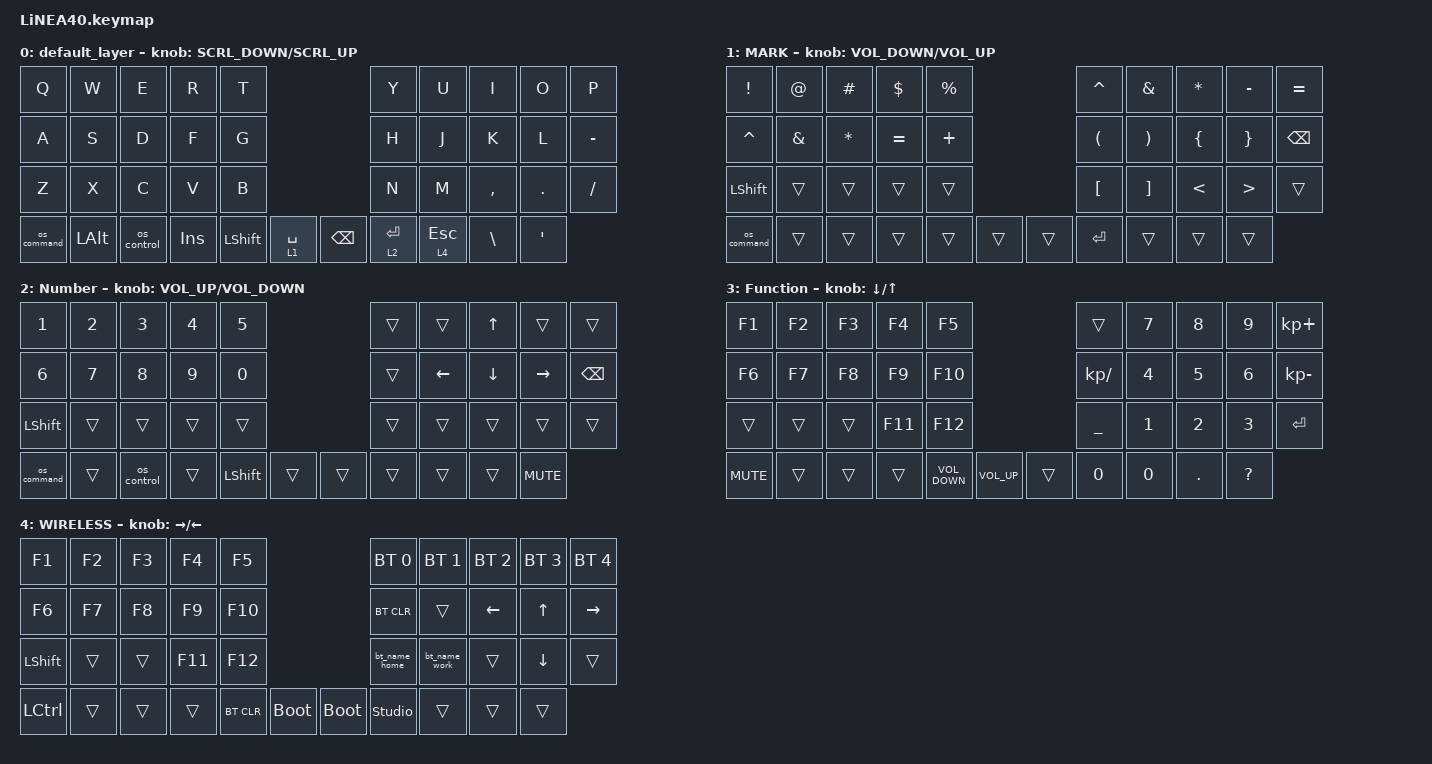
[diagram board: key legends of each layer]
#define ZMK_POINTING_DEFAULT_SCRL_VAL 150

#include <dt-bindings/zmk/input_transform.h>
#include <input/processors.dtsi>
#include <zephyr/dt-bindings/input/input-event-codes.h>
#include <behaviors.dtsi>
#include <behaviors/linea40_bluetooth_names.dtsi>
#include <behaviors/linea40_profile_keys.dtsi>
#include <dt-bindings/zmk/bt.h>
#include <dt-bindings/zmk/keys.h>
#include <dt-bindings/zmk/pointing.h>

#define MARK 1
#define CURSOR 2
#define FUNCTION 3
#define SCROLL 4
#define WIRELESS 5

//mouse cursol

&mmv {
    delay-ms = <20>;
    trigger-period-ms = <5>;
    time-to-max-speed-ms = <100>;
    acceleration-exponent = <2>;
};

//mouse scroll

&msc {
    delay-ms = <3>;
    trigger-period-ms = <3>;
    time-to-max-speed-ms = <100>;
    acceleration-exponent = <0>;
};

/ {
    input_processors {
        zip_wheel_scaler: zip_wheel_scaler {
            compatible = "zmk,input-processor-scaler";
            #input-processor-cells = <2>;
            type = <INPUT_EV_REL>;
            codes = <INPUT_REL_WHEEL>;
            track-remainders;
        };
    };
};

&msc_input_listener {
    speed_up {
        layers = <FUNCTION>;
        input-processors = <&zip_wheel_scaler 3 1>; //スクロールを3倍速にする
    };
};

&trackball_listener {
    scroller {
        layers = <SCROLL>;
        input-processors =
            <&zip_xy_transform INPUT_TRANSFORM_Y_INVERT>,
            //スクロール方向を逆転,,,,,,,,,,,,,,,,,,,,,,,
            <&zip_xy_to_scroll_mapper>;
    };
};

/ {
    combos {
        compatible = "zmk,combos";

        Tab {
            bindings = <&kp TAB>;
            key-positions = <11 12>;
        };

        DeleteKey {
            bindings = <&kp DEL>;
            key-positions = <7 8>;
        };

        LeftClick {
            bindings = <&mkp MB1>;
            key-positions = <16 17>;
        };

        RightClick {
            bindings = <&mkp MB2>;
            key-positions = <17 18>;
        };

        CenterClick {
            bindings = <&os_middle>;
            key-positions = <6 7>;
        };

        ClickNext {
            bindings = <&mkp MB5>;
            key-positions = <26 27>;
        };

        inner_paren {
            bindings = <&inner_paren>;
            key-positions = <15 16>;
        };

        inner_brace {
            bindings = <&inner_brace>;
            key-positions = <27 28>;
        };

        inner_bracket {
            bindings = <&inner_bracket>;
            key-positions = <25 26>;
        };

        change_source {
            bindings = <&os_input>;
            key-positions = <10 34>;
        };

        shift_tab {
            bindings = <&kp LS(TAB)>;
            key-positions = <12 13>;
        };

        backspace {
            bindings = <&kp MINUS>;
            key-positions = <8 9>;
        };

        semicolon {
            bindings = <&kp SEMICOLON>;
            key-positions = <18 19>;
        };

        grave {
            bindings = <&kp GRAVE>;
            key-positions = <1 2>;
        };

        tilde {
            bindings = <&kp TILDE>;
            key-positions = <2 3>;
        };
    };

    behaviors {
        re_kp: sensor_rotate_kp {
            compatible = "zmk,behavior-sensor-rotate-var";
            #sensor-binding-cells = <2>;
            bindings = <&kp>, <&kp>;
        };

        mouse_scrl: mouse_wheel_scrl {
            compatible = "zmk,behavior-sensor-rotate-var";
            #sensor-binding-cells = <2>;
            bindings = <&msc>, <&msc>;

            tap-ms = <20>;
        };
    };

    macros {
        inner_paren: m1 {
            compatible = "zmk,behavior-macro";
            #binding-cells = <0>;
            bindings = <&kp LEFT_PARENTHESIS &kp RIGHT_PARENTHESIS &kp LEFT_ARROW>;
            label = "M1";
        };

        inner_brace: inner_brace {
            compatible = "zmk,behavior-macro";
            #binding-cells = <0>;
            bindings = <&kp LEFT_BRACE &kp RIGHT_BRACE &kp LEFT_ARROW>;
            label = "INNER_BRACE";
        };

        inner_bracket: inner_bracket {
            compatible = "zmk,behavior-macro";
            #binding-cells = <0>;
            bindings = <&kp LEFT_BRACKET &kp RIGHT_BRACKET &kp LEFT_ARROW>;
            label = "INNER_BRACKET";
        };

        inner_angle: inner_angle {
            compatible = "zmk,behavior-macro";
            #binding-cells = <0>;
            bindings = <&kp LESS_THAN &kp GREATER_THAN &kp LEFT_ARROW>;
            label = "INNER_ANGLE";
        };

        inner_quote: inner_quote {
            compatible = "zmk,behavior-macro";
            #binding-cells = <0>;
            bindings = <&kp DOUBLE_QUOTES &kp DOUBLE_QUOTES &kp LEFT_ARROW>;
            label = "INNER_QUOTE";
        };

        inner_single: inner_single {
            compatible = "zmk,behavior-macro";
            #binding-cells = <0>;
            bindings = <&kp SINGLE_QUOTE &kp SINGLE_QUOTE &kp LEFT_ARROW>;
            label = "INNER_SINGLE";
        };

        inner_back: inner_back {
            compatible = "zmk,behavior-macro";
            #binding-cells = <0>;
            bindings = <&kp GRAVE &kp GRAVE &kp LEFT_ARROW>;
            label = "INNER_BACK";
        };
    };

    keymap {
        compatible = "zmk,keymap";

        default_layer {
            bindings = <
&kp Q         &kp W         &kp E             &kp R    &kp T                                         &kp Y        &kp U  &kp I         &kp O          &kp P
&kp A         &kp S         &kp D             &kp F    &kp G                                         &kp H        &kp J  &kp K         &kp L          &kp MINUS
&kp Z         &kp X         &kp C             &kp V    &kp B                                         &kp N        &kp M  &kp COMMA     &kp DOT        &kp SLASH
&os_command   &kp LEFT_ALT  &os_control       &kp INS  &kp LEFT_SHIFT  &lt 1 SPACE    &kp BACKSPACE  &lt 2 ENTER         &lt 4 ESCAPE  &kp BACKSLASH  &kp SINGLE_QUOTE
            >;

            sensor-bindings = <&mouse_scrl SCRL_DOWN SCRL_UP>;
        };

        MARK {
            bindings = <
&kp EXCLAMATION  &kp AT         &kp HASH      &kp DOLLAR  &kp PERCENT                    &kp CARET             &kp AMPERSAND          &kp ASTERISK    &kp MINUS  &kp EQUAL
&kp CARET        &kp AMPERSAND  &kp ASTERISK  &kp EQUAL   &kp PLUS                       &kp LEFT_PARENTHESIS  &kp RIGHT_PARENTHESIS  &kp LEFT_BRACE  &kp RBRC   &kp BACKSPACE
&kp LEFT_SHIFT   &trans         &trans        &trans      &trans                         &kp LEFT_BRACKET      &kp RIGHT_BRACKET      &kp LESS_THAN   &kp GT     &trans
&os_command      &trans         &trans        &trans      &trans       &trans    &trans  &kp ENTER                                    &trans          &trans     &trans
            >;

            sensor-bindings = <&re_kp C_VOLUME_DOWN C_VOLUME_UP>;
        };

        Number {
            bindings = <
&kp NUMBER_1    &kp NUMBER_2  &kp NUMBER_3  &kp NUMBER_4  &kp N5                            &trans  &trans          &kp UP_ARROW    &trans           &trans
&kp NUMBER_6    &kp N7        &kp N8        &kp N9        &kp N0                            &trans  &kp LEFT_ARROW  &kp DOWN_ARROW  &kp RIGHT_ARROW  &kp BACKSPACE
&kp LEFT_SHIFT  &trans        &trans        &trans        &trans                            &trans  &trans          &trans          &trans           &trans
&os_command     &trans        &os_control   &trans        &kp LEFT_SHIFT  &trans    &trans  &trans                  &trans          &trans           &kp K_MUTE
            >;

            sensor-bindings = <&inc_dec_kp C_VOLUME_UP C_VOLUME_DOWN>;
        };

        Function {
            bindings = <
&kp F1      &kp F2  &kp F3  &kp F4   &kp F5                                        &trans        &kp NUMBER_7  &kp NUMBER_8  &kp NUMBER_9  &kp KP_PLUS
&kp F6      &kp F7  &kp F8  &kp F9   &kp F10                                       &kp KP_SLASH  &kp NUMBER_4  &kp NUMBER_5  &kp NUMBER_6  &kp KP_MINUS
&trans      &trans  &trans  &kp F11  &kp F12                                       &kp UNDER     &kp NUMBER_1  &kp NUMBER_2  &kp NUMBER_3  &kp ENTER
&kp C_MUTE  &trans  &trans  &trans   &kp C_VOLUME_DOWN  &kp C_VOLUME_UP    &trans  &kp NUMBER_0                &kp NUMBER_0  &kp DOT       &kp QUESTION
            >;

            sensor-bindings = <&inc_dec_kp DOWN_ARROW UP_ARROW>;
        };

        WIRELESS {
            bindings = <
&kp F1          &kp F2  &kp F3  &kp F4   &kp F5                                  &bt BT_SEL 0    &bt BT_SEL 1  &bt BT_SEL 2    &bt BT_SEL 3    &bt BT_SEL 4
&kp F6          &kp F7  &kp F8  &kp F9   &kp F10                                 &bt BT_CLR      &trans        &kp LEFT_ARROW  &kp UP_ARROW    &kp RIGHT_ARROW
&kp LEFT_SHIFT  &trans  &trans  &kp F11  &kp F12                                 &bt_name_home   &bt_name_work &trans          &kp DOWN_ARROW  &trans
&kp LCTRL       &trans  &trans  &trans   &bt BT_CLR  &bootloader    &bootloader  &studio_unlock                &trans          &trans          &trans
            >;

            sensor-bindings = <&inc_dec_kp RIGHT_ARROW LEFT_ARROW>;
        };
    };
};
